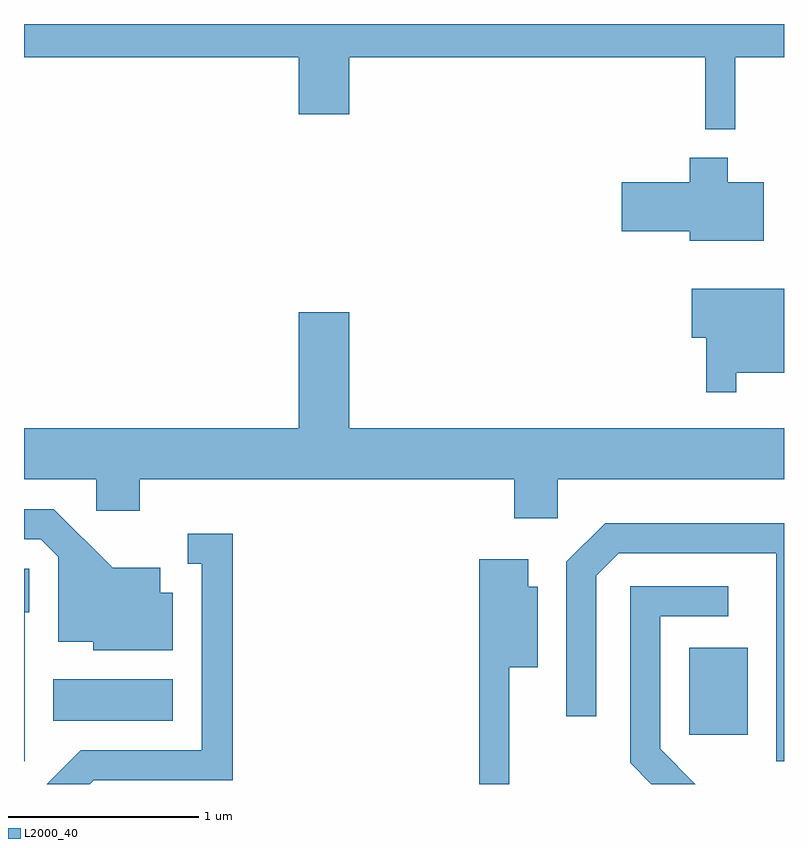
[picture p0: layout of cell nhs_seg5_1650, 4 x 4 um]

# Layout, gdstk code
import gdstk
lib = gdstk.Library(unit=1e-6, precision=1e-09)
def R(c, l, rs):  # rectangles x0, y0, x1, y1
    for r in rs: c.add(gdstk.rectangle(r[:2], r[2:], *l))
def P(c, l, *ps):  # polygons
    for p in ps: c.add(gdstk.Polygon(p, *l))
L2000_40 = (2000, 40)

nhs_seg5_1650 = lib.new_cell('nhs_seg5_1650')
R(nhs_seg5_1650, L2000_40, [(237.111,1464.331,237.419,1464.789), (233.766,1464.406,234.394,1464.624)])
P(nhs_seg5_1650, L2000_40, [(237.354,1467.896),(237.611,1467.896),(237.611,1468.072),(233.611,1468.072),(233.611,1467.896),(235.056,1467.896),(235.056,1467.596),(235.324,1467.596),(235.324,1467.896),(237.196,1467.896),(237.196,1467.518),(237.354,1467.518)],
  [(237.504,1467.239),(237.314,1467.239),(237.314,1467.369),(237.116,1467.369),(237.116,1467.239),(236.756,1467.239),(236.756,1466.981),(237.116,1466.981),(237.116,1466.931),(237.504,1466.931)],
  [(237.359,1466.236),(237.611,1466.236),(237.611,1466.679),(237.126,1466.679),(237.126,1466.421),(237.201,1466.421),(237.201,1466.133),(237.359,1466.133)],
  [(236.419,1465.676),(237.611,1465.676),(237.611,1465.944),(235.324,1465.944),(235.324,1466.554),(235.056,1466.554),(235.056,1465.944),(233.611,1465.944),(233.611,1465.676),(233.991,1465.676),(233.991,1465.511),(234.219,1465.511),(234.219,1465.676),(236.191,1465.676),(236.191,1465.471),(236.419,1465.471)],
  [(234.394,1465.079),(234.329,1465.079),(234.329,1465.209),(234.077,1465.209),(233.767,1465.519),(233.611,1465.519),(233.611,1465.361),(233.699,1465.361),(233.791,1465.269),(233.791,1464.821),(233.976,1464.821),(233.976,1464.776),(234.394,1464.776)],
  [(237.611,1465.444),(236.669,1465.444),(236.466,1465.242),(236.466,1464.428),(236.624,1464.428),(236.624,1465.169),(236.742,1465.286),(237.571,1465.286),(237.571,1464.191),(237.611,1464.191)],
  [(233.977,1464.091),(234.709,1464.091),(234.709,1465.389),(234.473,1465.389),(234.473,1465.231),(234.546,1465.231),(234.546,1464.249),(233.909,1464.249),(233.732,1464.072),(233.958,1464.072)],
  [(236.164,1464.686),(236.314,1464.686),(236.314,1465.109),(236.264,1465.109),(236.264,1465.254),(236.006,1465.254),(236.006,1464.072),(236.164,1464.072)],
  [(233.614,1464.976),(233.639,1464.976),(233.639,1465.204),(233.611,1465.204),(233.611,1464.191),(233.614,1464.191)],
  [(236.959,1464.257),(236.959,1464.956),(237.318,1464.956),(237.318,1465.114),(236.801,1465.114),(236.801,1464.184),(236.913,1464.072),(237.144,1464.072)])

lib.write_gds('nhs_seg5_1650.gds')
